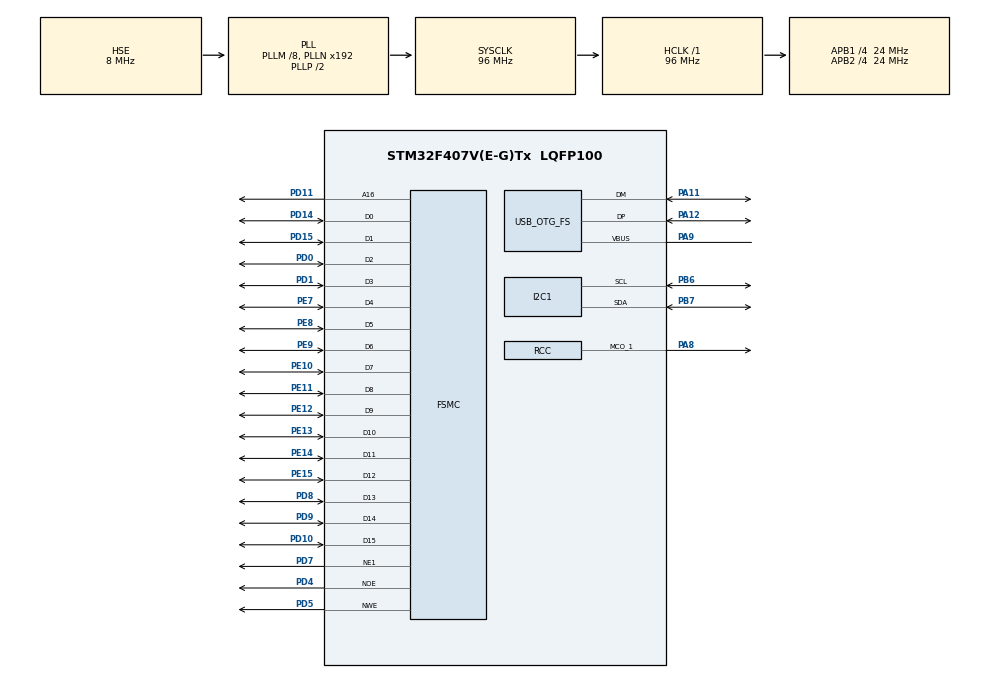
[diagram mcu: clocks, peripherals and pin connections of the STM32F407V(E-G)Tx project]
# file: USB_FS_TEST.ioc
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Mcu.Family=STM32F4
Mcu.Name=STM32F407V(E-G)Tx
Mcu.Package=LQFP100
NVIC.OTG_FS_IRQn=true\:0\:0\:false\:false\:true
NVIC.PriorityGroup=NVIC_PRIORITYGROUP_4
NVIC.TIM6_DAC_IRQn=true\:0\:0\:false\:false\:true
PA11.Mode=Device_Only
PA11.Signal=USB_OTG_FS_DM
PA12.Mode=Device_Only
PA12.Signal=USB_OTG_FS_DP
PA8.Mode=Clock-out-1
PA8.Signal=RCC_MCO_1
PA9.Mode=Activate_VBUS
PA9.Signal=USB_OTG_FS_VBUS
PB6.Mode=I2C
PB6.Signal=I2C1_SCL
PB7.Mode=I2C
PB7.Signal=I2C1_SDA
PD0.Mode=16b-d1
PD0.Signal=FSMC_D2
PD1.Mode=16b-d1
PD1.Signal=FSMC_D3
PD10.Mode=16b-d1
PD10.Signal=FSMC_D15
PD11.Mode=A16_1
PD11.Signal=FSMC_A16
PD14.Mode=16b-d1
PD14.Signal=FSMC_D0
PD15.Mode=16b-d1
PD15.Signal=FSMC_D1
PD4.Mode=Lcd1
PD4.Signal=FSMC_NOE
PD5.Mode=Lcd1
PD5.Signal=FSMC_NWE
PD7.Mode=NorPsramChipSelect1_1
PD7.Signal=FSMC_NE1
PD8.Mode=16b-d1
PD8.Signal=FSMC_D13
PD9.Mode=16b-d1
PD9.Signal=FSMC_D14
PE10.Mode=16b-d1
PE10.Signal=FSMC_D7
PE11.Mode=16b-d1
PE11.Signal=FSMC_D8
PE12.Mode=16b-d1
PE12.Signal=FSMC_D9
PE13.Mode=16b-d1
PE13.Signal=FSMC_D10
PE14.Mode=16b-d1
PE14.Signal=FSMC_D11
PE15.Mode=16b-d1
PE15.Signal=FSMC_D12
PE7.Mode=16b-d1
PE7.Signal=FSMC_D4
PE8.Mode=16b-d1
PE8.Signal=FSMC_D5
PE9.Mode=16b-d1
PE9.Signal=FSMC_D6
PH0-OSC_IN.Mode=HSE-External-Oscillator
PH0-OSC_IN.Signal=RCC_OSC_IN
PH1-OSC_OUT.Mode=HSE-External-Oscillator
PH1-OSC_OUT.Signal=RCC_OSC_OUT
ProjectManager.HeapSize=0x2000
ProjectManager.StackSize=0x4000
ProjectManager.TargetToolchain=MDK-ARM V4
RCC.48MHZClocksFreq_Value=48000000
RCC.AHBFreq_Value=96000000
RCC.APB1CLKDivider=RCC_HCLK_DIV4
RCC.APB1Freq_Value=24000000
RCC.APB1TimFreq_Value=48000000
RCC.APB2CLKDivider=RCC_HCLK_DIV4
RCC.APB2Freq_Value=24000000
RCC.APB2TimFreq_Value=48000000
RCC.CortexFreq_Value=12000000
RCC.Cortex_Div=SYSTICK_CLKSOURCE_HCLK_DIV8
RCC.HCLKFreq_Value=96000000
RCC.HSE_VALUE=8000000
RCC.HSI_VALUE=16000000
RCC.LSE_VALUE=32768
RCC.PLLM=8
RCC.SYSCLKFreq_VALUE=96000000
RCC.SYSCLKSource=RCC_SYSCLKSOURCE_PLLCLK
RCC.VCOOutputFreq_Value=192000000
TIM6.Period=24000
TIM6.Prescaler=2
TIM6.TIM_MasterOutputTrigger=TIM_TRGO_RESET
USB_DEVICE.CLASS_NAME-CDC_FS=CDC
USB_DEVICE.CLASS_NAME_FS=CDC
USB_DEVICE.USBD_HandleTypeDef-CDC_FS=hUsbDeviceFS
USB_DEVICE.VirtualMode-CDC_FS=Cdc
USB_DEVICE.VirtualModeFS=Cdc_FS
USB_OTG_FS.VirtualMode=Device_Only
VP_CRC_VS_CRC.Mode=CRC_Activate
VP_RTC_VS_RTC_Activate.Mode=RTC_Enabled
VP_RTC_VS_RTC_Alarm_A_Intern.Mode=Alarm A
VP_RTC_VS_RTC_Calendar.Mode=RTC_Calendar
VP_TIM6_VS_ClockSourceINT.Mode=Enable_Timer
VP_USB_DEVICE_VS_USB_DEVICE_CDC_FS.Mode=CDC_FS
board=USB_FS_TEST

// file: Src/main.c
/**
  ******************************************************************************
  * File Name          : main.c
  * Description        : Main program body
  ******************************************************************************
  *
  * Copyright (c) 2016 STMicroelectronics International N.V.
  * All rights reserved.
  *
  * Redistribution and use in source and binary forms, with or without
  * modification, are permitted, provided that the following conditions are met:
  *
  * 1. Redistribution of source code must retain the above copyright notice,
  *    this list of conditions and the following disclaimer.
  * 2. Redistributions in binary form must reproduce the above copyright notice,
  *    this list of conditions and the following disclaimer in the documentation
  *    and/or other materials provided with the distribution.
  * 3. Neither the name of STMicroelectronics nor the names of other
  *    contributors to this software may be used to endorse or promote products
  *    derived from this software without specific written permission.
  * 4. This software, including modifications and/or derivative works of this
  *    software, must execute solely and exclusively on microcontroller or
  *    microprocessor devices manufactured by or for STMicroelectronics.
  * 5. Redistribution and use of this software other than as permitted under
  *    this license is void and will automatically terminate your rights under
  *    this license.
  *
  * THIS SOFTWARE IS PROVIDED BY STMICROELECTRONICS AND CONTRIBUTORS "AS IS"
  * AND ANY EXPRESS, IMPLIED OR STATUTORY WARRANTIES, INCLUDING, BUT NOT
  * LIMITED TO, THE IMPLIED WARRANTIES OF MERCHANTABILITY, FITNESS FOR A
  * PARTICULAR PURPOSE AND NON-INFRINGEMENT OF THIRD PARTY INTELLECTUAL PROPERTY
  * RIGHTS ARE DISCLAIMED TO THE FULLEST EXTENT PERMITTED BY LAW. IN NO EVENT
  * SHALL STMICROELECTRONICS OR CONTRIBUTORS BE LIABLE FOR ANY DIRECT, INDIRECT,
  * INCIDENTAL, SPECIAL, EXEMPLARY, OR CONSEQUENTIAL DAMAGES (INCLUDING, BUT NOT
  * LIMITED TO, PROCUREMENT OF SUBSTITUTE GOODS OR SERVICES; LOSS OF USE, DATA,
  * OR PROFITS; OR BUSINESS INTERRUPTION) HOWEVER CAUSED AND ON ANY THEORY OF
  * LIABILITY, WHETHER IN CONTRACT, STRICT LIABILITY, OR TORT (INCLUDING
  * NEGLIGENCE OR OTHERWISE) ARISING IN ANY WAY OUT OF THE USE OF THIS SOFTWARE,
  * EVEN IF ADVISED OF THE POSSIBILITY OF SUCH DAMAGE.
  *
  ******************************************************************************
  */
#include "main.h"
#include "stm32f4xx_hal.h"
#include "usb_device.h"

/* USER CODE BEGIN Includes */
#include "usbd_cdc_if.h"
#include "modbus.h"
#include "LCD.h"
#include "user_functions.h"
#include "stm32f4xx_hal_i2c.h"
#include "timers.h"
/* USER CODE END Includes */

CRC_HandleTypeDef hcrc;

I2C_HandleTypeDef hi2c1;

RTC_HandleTypeDef hrtc;

TIM_HandleTypeDef htim6;

SRAM_HandleTypeDef hsram1;

/* USER CODE BEGIN PV */
/* Private variables ---------------------------------------------------------*/

/* USER CODE END PV */

void SystemClock_Config(void);
void Error_Handler(void);
static void MX_GPIO_Init(void);
static void MX_FSMC_Init(void);
static void MX_I2C1_Init(void);
static void MX_CRC_Init(void);
static void MX_TIM6_Init(void);
static void MX_RTC_Init(void);

/* USER CODE BEGIN PFP */
/* Private function prototypes -----------------------------------------------*/

/* USER CODE END PFP */

int main(void)
{

  /* MCU Configuration----------------------------------------------------------*/

  /* Reset of all peripherals, Initializes the Flash interface and the Systick. */
  HAL_Init();

  /* Configure the system clock */
  SystemClock_Config();

  /* Initialize all configured peripherals */
  MX_GPIO_Init();
  MX_USB_DEVICE_Init();
  MX_FSMC_Init();
  MX_I2C1_Init();
  MX_CRC_Init();
  MX_TIM6_Init();
  MX_RTC_Init();

  /* USER CODE BEGIN 2 */
	HAL_TIM_Base_Start_IT(&htim6);
	InitSysTimers();
	LCD_Init();
	LCD_Clear(LCD_COLOR_BLUE);
	LCD_DisplayStringLine(100,100,"FSMC Init..", LCD_COLOR_WHITE, LCD_COLOR_BLUE);
	HAL_Delay(2000);
	LCD_Clear(LCD_COLOR_MAGENTA);
	//buffer_clock[0] = 0x00;
	//buffer_clock[1] = 0x25;
	//buffer_clock[2] = 0x22;
	//HAL_I2C_Mem_Write(&hi2c1, I2C_ADDRESS, 0x00, 1, buffer_clock, 3, 1000);

  /* USER CODE END 2 */

  /* Infinite loop */
  while (1)
  {

  /* USER CODE BEGIN 3 */
		ModbusProcess();
		RTC_GetDateTime();// Read RTC registers
  }
  /* USER CODE END 3 */

}

/** System Clock Configuration
*/
void SystemClock_Config(void)
{

  RCC_OscInitTypeDef RCC_OscInitStruct;
  RCC_ClkInitTypeDef RCC_ClkInitStruct;
  RCC_PeriphCLKInitTypeDef PeriphClkInitStruct;

    /**Configure the main internal regulator output voltage
    */
  __HAL_RCC_PWR_CLK_ENABLE();

  __HAL_PWR_VOLTAGESCALING_CONFIG(PWR_REGULATOR_VOLTAGE_SCALE1);

    /**Initializes the CPU, AHB and APB busses clocks
    */
  RCC_OscInitStruct.OscillatorType = RCC_OSCILLATORTYPE_HSI|RCC_OSCILLATORTYPE_LSI
                              |RCC_OSCILLATORTYPE_HSE;
  RCC_OscInitStruct.HSEState = RCC_HSE_ON;
  RCC_OscInitStruct.HSIState = RCC_HSI_ON;
  RCC_OscInitStruct.HSICalibrationValue = 16;
  RCC_OscInitStruct.LSIState = RCC_LSI_ON;
  RCC_OscInitStruct.PLL.PLLState = RCC_PLL_ON;
  RCC_OscInitStruct.PLL.PLLSource = RCC_PLLSOURCE_HSE;
  RCC_OscInitStruct.PLL.PLLM = 8;
  RCC_OscInitStruct.PLL.PLLN = 192;
  RCC_OscInitStruct.PLL.PLLP = RCC_PLLP_DIV2;
  RCC_OscInitStruct.PLL.PLLQ = 4;
  if (HAL_RCC_OscConfig(&RCC_OscInitStruct) != HAL_OK)
  {
    Error_Handler();
  }

    /**Initializes the CPU, AHB and APB busses clocks
    */
  RCC_ClkInitStruct.ClockType = RCC_CLOCKTYPE_HCLK|RCC_CLOCKTYPE_SYSCLK
                              |RCC_CLOCKTYPE_PCLK1|RCC_CLOCKTYPE_PCLK2;
  RCC_ClkInitStruct.SYSCLKSource = RCC_SYSCLKSOURCE_PLLCLK;
  RCC_ClkInitStruct.AHBCLKDivider = RCC_SYSCLK_DIV1;
  RCC_ClkInitStruct.APB1CLKDivider = RCC_HCLK_DIV4;
  RCC_ClkInitStruct.APB2CLKDivider = RCC_HCLK_DIV4;

  if (HAL_RCC_ClockConfig(&RCC_ClkInitStruct, FLASH_LATENCY_3) != HAL_OK)
  {
    Error_Handler();
  }

  PeriphClkInitStruct.PeriphClockSelection = RCC_PERIPHCLK_RTC;
  PeriphClkInitStruct.RTCClockSelection = RCC_RTCCLKSOURCE_LSI;
  if (HAL_RCCEx_PeriphCLKConfig(&PeriphClkInitStruct) != HAL_OK)
  {
    Error_Handler();
  }

  HAL_RCC_MCOConfig(RCC_MCO1, RCC_MCO1SOURCE_HSI, RCC_MCODIV_1);

    /**Configure the Systick interrupt time
    */
  HAL_SYSTICK_Config(HAL_RCC_GetHCLKFreq()/8000);

    /**Configure the Systick
    */
  HAL_SYSTICK_CLKSourceConfig(SYSTICK_CLKSOURCE_HCLK_DIV8);

  /* SysTick_IRQn interrupt configuration */
  HAL_NVIC_SetPriority(SysTick_IRQn, 0, 0);
}

/* CRC init function */
static void MX_CRC_Init(void)
{

  hcrc.Instance = CRC;
  if (HAL_CRC_Init(&hcrc) != HAL_OK)
  {
    Error_Handler();
  }

}

/* I2C1 init function */
static void MX_I2C1_Init(void)
{

  hi2c1.Instance = I2C1;
  hi2c1.Init.ClockSpeed = 100000;
  hi2c1.Init.DutyCycle = I2C_DUTYCYCLE_2;
  hi2c1.Init.OwnAddress1 = 0;
  hi2c1.Init.AddressingMode = I2C_ADDRESSINGMODE_7BIT;
  hi2c1.Init.DualAddressMode = I2C_DUALADDRESS_DISABLE;
  hi2c1.Init.OwnAddress2 = 0;
  hi2c1.Init.GeneralCallMode = I2C_GENERALCALL_DISABLE;
  hi2c1.Init.NoStretchMode = I2C_NOSTRETCH_DISABLE;
  if (HAL_I2C_Init(&hi2c1) != HAL_OK)
  {
    Error_Handler();
  }

}

/* RTC init function */
static void MX_RTC_Init(void)
{

  RTC_TimeTypeDef sTime;
  RTC_DateTypeDef sDate;
  RTC_AlarmTypeDef sAlarm;

    /**Initialize RTC Only
    */
  hrtc.Instance = RTC;
  hrtc.Init.HourFormat = RTC_HOURFORMAT_24;
  hrtc.Init.AsynchPrediv = 127;
  hrtc.Init.SynchPrediv = 255;
  hrtc.Init.OutPut = RTC_OUTPUT_DISABLE;
  hrtc.Init.OutPutPolarity = RTC_OUTPUT_POLARITY_HIGH;
  hrtc.Init.OutPutType = RTC_OUTPUT_TYPE_OPENDRAIN;
  if (HAL_RTC_Init(&hrtc) != HAL_OK)
  {
    Error_Handler();
  }

    /**Initialize RTC and set the Time and Date
    */
  sTime.Hours = 0x0;
  sTime.Minutes = 0x0;
  sTime.Seconds = 0x0;
  sTime.DayLightSaving = RTC_DAYLIGHTSAVING_NONE;
  sTime.StoreOperation = RTC_STOREOPERATION_RESET;
  if (HAL_RTC_SetTime(&hrtc, &sTime, RTC_FORMAT_BCD) != HAL_OK)
  {
    Error_Handler();
  }

  sDate.WeekDay = RTC_WEEKDAY_MONDAY;
  sDate.Month = RTC_MONTH_JANUARY;
  sDate.Date = 0x1;
  sDate.Year = 0x0;

  if (HAL_RTC_SetDate(&hrtc, &sDate, RTC_FORMAT_BCD) != HAL_OK)
  {
    Error_Handler();
  }

    /**Enable the Alarm A
    */
  sAlarm.AlarmTime.Hours = 0x0;
  sAlarm.AlarmTime.Minutes = 0x0;
  sAlarm.AlarmTime.Seconds = 0x0;
  sAlarm.AlarmTime.SubSeconds = 0x0;
  sAlarm.AlarmTime.DayLightSaving = RTC_DAYLIGHTSAVING_NONE;
  sAlarm.AlarmTime.StoreOperation = RTC_STOREOPERATION_RESET;
  sAlarm.AlarmMask = RTC_ALARMMASK_NONE;
  sAlarm.AlarmSubSecondMask = RTC_ALARMSUBSECONDMASK_ALL;
  sAlarm.AlarmDateWeekDaySel = RTC_ALARMDATEWEEKDAYSEL_DATE;
  sAlarm.AlarmDateWeekDay = 0x1;
  sAlarm.Alarm = RTC_ALARM_A;
  if (HAL_RTC_SetAlarm(&hrtc, &sAlarm, RTC_FORMAT_BCD) != HAL_OK)
  {
    Error_Handler();
  }

}

/* TIM6 init function */
static void MX_TIM6_Init(void)
{

  TIM_MasterConfigTypeDef sMasterConfig;

  htim6.Instance = TIM6;
  htim6.Init.Prescaler = 2;
  htim6.Init.CounterMode = TIM_COUNTERMODE_UP;
  htim6.Init.Period = 24000;
  if (HAL_TIM_Base_Init(&htim6) != HAL_OK)
  {
    Error_Handler();
  }

  sMasterConfig.MasterOutputTrigger = TIM_TRGO_RESET;
  sMasterConfig.MasterSlaveMode = TIM_MASTERSLAVEMODE_DISABLE;
  if (HAL_TIMEx_MasterConfigSynchronization(&htim6, &sMasterConfig) != HAL_OK)
  {
    Error_Handler();
  }

}

/** Configure pins as
        * Analog
        * Input
        * Output
        * EVENT_OUT
        * EXTI
     PA8   ------> RCC_MCO_1
*/
static void MX_GPIO_Init(void)
{

  GPIO_InitTypeDef GPIO_InitStruct;

  /* GPIO Ports Clock Enable */
  __HAL_RCC_GPIOH_CLK_ENABLE();
  __HAL_RCC_GPIOE_CLK_ENABLE();
  __HAL_RCC_GPIOD_CLK_ENABLE();
  __HAL_RCC_GPIOA_CLK_ENABLE();
  __HAL_RCC_GPIOB_CLK_ENABLE();

  /*Configure GPIO pin : PA8 */
  GPIO_InitStruct.Pin = GPIO_PIN_8;
  GPIO_InitStruct.Mode = GPIO_MODE_AF_PP;
  GPIO_InitStruct.Pull = GPIO_NOPULL;
  GPIO_InitStruct.Speed = GPIO_SPEED_FREQ_LOW;
  GPIO_InitStruct.Alternate = GPIO_AF0_MCO;
  HAL_GPIO_Init(GPIOA, &GPIO_InitStruct);

}

/* FSMC initialization function */
static void MX_FSMC_Init(void)
{
  FSMC_NORSRAM_TimingTypeDef Timing;

  /** Perform the SRAM1 memory initialization sequence
  */
  hsram1.Instance = FSMC_NORSRAM_DEVICE;
  hsram1.Extended = FSMC_NORSRAM_EXTENDED_DEVICE;
  /* hsram1.Init */
  hsram1.Init.NSBank = FSMC_NORSRAM_BANK1;
  hsram1.Init.DataAddressMux = FSMC_DATA_ADDRESS_MUX_DISABLE;
  hsram1.Init.MemoryType = FSMC_MEMORY_TYPE_SRAM;
  hsram1.Init.MemoryDataWidth = FSMC_NORSRAM_MEM_BUS_WIDTH_16;
  hsram1.Init.BurstAccessMode = FSMC_BURST_ACCESS_MODE_DISABLE;
  hsram1.Init.WaitSignalPolarity = FSMC_WAIT_SIGNAL_POLARITY_LOW;
  hsram1.Init.WrapMode = FSMC_WRAP_MODE_DISABLE;
  hsram1.Init.WaitSignalActive = FSMC_WAIT_TIMING_BEFORE_WS;
  hsram1.Init.WriteOperation = FSMC_WRITE_OPERATION_ENABLE;
  hsram1.Init.WaitSignal = FSMC_WAIT_SIGNAL_DISABLE;
  hsram1.Init.ExtendedMode = FSMC_EXTENDED_MODE_DISABLE;
  hsram1.Init.AsynchronousWait = FSMC_ASYNCHRONOUS_WAIT_DISABLE;
  hsram1.Init.WriteBurst = FSMC_WRITE_BURST_DISABLE;
  hsram1.Init.PageSize = FSMC_PAGE_SIZE_NONE;
  /* Timing */
  Timing.AddressSetupTime = 15;
  Timing.AddressHoldTime = 15;
  Timing.DataSetupTime = 255;
  Timing.BusTurnAroundDuration = 15;
  Timing.CLKDivision = 16;
  Timing.DataLatency = 17;
  Timing.AccessMode = FSMC_ACCESS_MODE_A;
  /* ExtTiming */

  if (HAL_SRAM_Init(&hsram1, &Timing, NULL) != HAL_OK)
  {
    Error_Handler();
  }

}

void Error_Handler(void)
{
  while(1)
  {
  }
}

/************************ (C) COPYRIGHT STMicroelectronics *****END OF FILE****/
